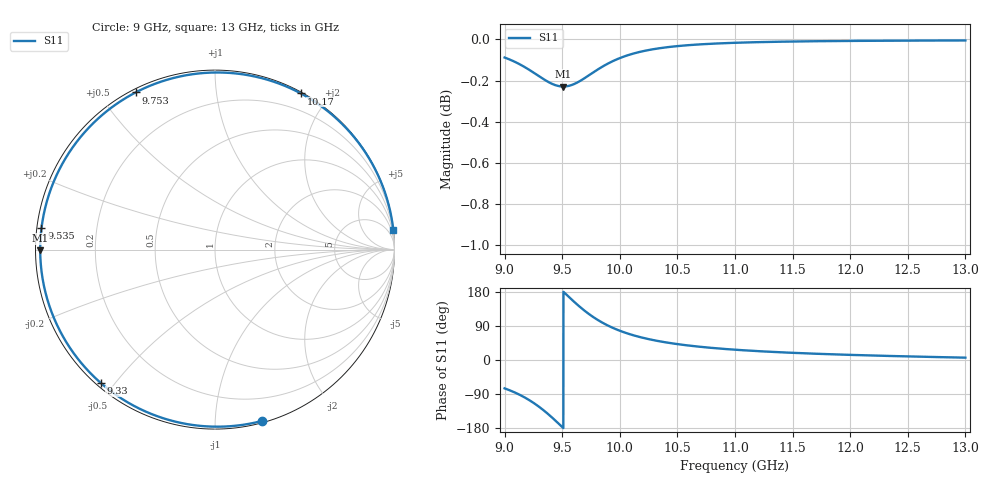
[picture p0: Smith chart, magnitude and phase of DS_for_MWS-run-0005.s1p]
! TOUCHSTONE file generated by CST DESIGN STUDIO
! Date and time: Tue Feb  4 12:35:27 2025
! Project name: C:\Work\MatlabApps\UnitCellOptimizationMatlab\CST\unitcell.cst
! Tree item: Tasks\Sweep1\SPara1\S-Parameters
! Header version: 2024
! Port assignment regex: !\s*Touchstone port\s*([0-9]+)\s*=\s*(CST MWS port|CST DES external port|CST DES block port)\s*(.+)\s* \(\"(.*)\"\)(\s*mode\s*([0-9]+))?.*
! Touchstone port assignment:
! Touchstone port 1 = CST DES external port 1 ("")
# GHz S MA R 50
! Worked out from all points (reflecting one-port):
!   4001 points, 9 GHz to 13 GHz, reference 50 ohm
!   lowest |S11| = -0.2 dB at 9.51 GHz (marker M1), VSWR 75.82, Z = 0.659 - j0.113 ohm
!   phase of S11 starts at -75 deg and turns -279 deg over the sweep
!   S11 on the Smith chart (normalised r, x): 9 GHz: 0.01, -1.31; 9.33 GHz: 0.01, -0.46; 9.535 GHz: 0.01, +0.06; 9.753 GHz: 0.01, +0.62; 10.17 GHz: 0.01, +1.69; 13 GHz: 0, +18
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9  0.9899 -74.8
9.088  0.9875 -85.6
9.191  0.984 -101.7
9.263  0.9811 -115.6
9.33  0.9783 -130.7
9.376  0.9766 -142.2
9.423  0.9751 -154.9
9.462  0.9743 -165.9
9.5  0.974 -176.8
9.51  0.974 -179.7
9.535  0.9741 173.0
9.589  0.9749 157.6
9.649  0.9768 141.4
9.7  0.9788 128.7
9.753  0.981 116.8
9.805  0.9832 106.4
9.861  0.9853 96.5
10  0.9896 77.2
10.08  0.9914 68.7
10.166  0.9929 61.2
10.318  0.9948 50.9
10.5  0.9963 41.9
10.722  0.9973 34.1
11  0.9981 27.2
11.5  0.9988 18.9
12  0.9991 13.5
12.5  0.9993 9.5
13  0.9994 6.2
